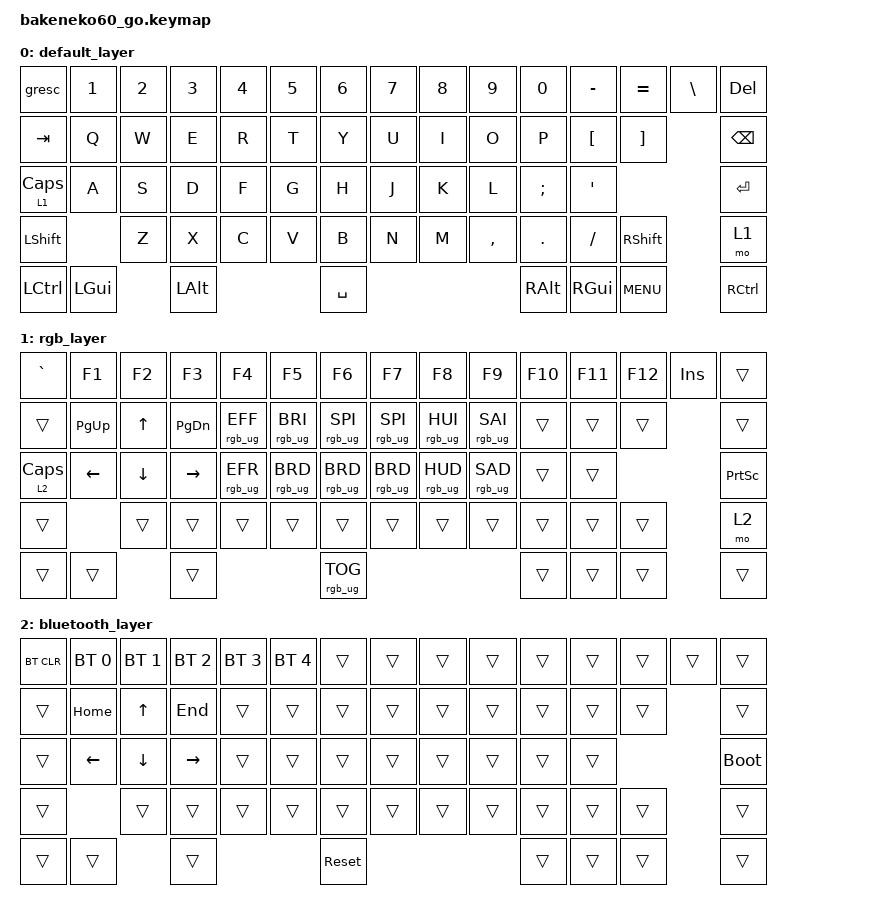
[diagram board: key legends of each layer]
/*
 * Copyright (c) 2023 Andrew Kannan
 *
 * SPDX-License-Identifier: MIT
 */

#include <behaviors.dtsi>
#include <dt-bindings/zmk/bt.h>
#include <dt-bindings/zmk/keys.h>
#include <dt-bindings/zmk/rgb.h>

/ {
    keymap {
        compatible = "zmk,keymap";

        default_layer {
            // ------------------------------------------------------------------------------------------
            // | ESC |  1  |  2  |  3  |  4  |  5  |  6  |  7  |  8  |  9  |  0  |  -  |  =  | BKSP|BKSP|
            // | TAB  |  Q  |  W  |  E  |  R  |  T  |  Y  |  U  |  I  |  O  |  P  |  [  |  ]  |   "|"   |
            // | CAPS  |  A  |  S  |  D  |  F  |  G  |  H  |  J  |  K  |  L  |  ;  |  '  |     ENTER    |
            // |  SHIFT  |  Z  |  X  |  C  |  V  |  B  |  N  |  M  |  ,  |  .  |  /  |  SHIFT  | MO(1)  |
            // |  CTL  |  WIN  |  ALT  |            SPACE              |  ALT  |  WIN  |  MO(1) |  CTL  |
            // ------------------------------------------------------------------------------------------

            bindings = <
&gresc          &kp N1    &kp N2  &kp N3    &kp N4  &kp N5  &kp N6     &kp N7  &kp N8  &kp N9     &kp N0    &kp MINUS  &kp EQUAL   &kp BSLH  &kp DEL
&kp TAB         &kp Q     &kp W   &kp E     &kp R   &kp T   &kp Y      &kp U   &kp I   &kp O      &kp P     &kp LBKT   &kp RBKT              &kp BACKSPACE
&lt 1 CAPSLOCK  &kp A     &kp S   &kp D     &kp F   &kp G   &kp H      &kp J   &kp K   &kp L      &kp SEMI  &kp SQT                          &kp RET
&kp LSHFT                 &kp Z   &kp X     &kp C   &kp V   &kp B      &kp N   &kp M   &kp COMMA  &kp DOT   &kp FSLH   &kp RSHFT             &mo 1
&kp LCTRL       &kp LGUI          &kp LALT                  &kp SPACE                             &kp RALT  &kp RGUI   &kp C_MENU            &kp RCTRL
            >;
        };

        rgb_layer {
            // ------------------------------------------------------------------------------------------------
            // |    `   | F1  | F2  | F3  | F4  | F5  | F6  | F7  | F8  | F9  | F10  | F11 | F12 |     | DEL  |
            // | EFCT REV|   |  UP |   | HUEUP | SATUP | BRIUP | SPDUP |      |  PGUP |    |     |    |       |
            // | EFCT FWD | LT |  DN  | RT | HUEDN | SATDN | BRIDN | SPDDN | HOME | PGDN | END  |  | BOOTLDR  |
            // |             |     |      |      |     |     |     |     |     |     |     |         |        |
            // |         |      |      |             TOG RGB                | PRT SCR |       |       |  MO(2)|
            // ------------------------------------------------------------------------------------------------

            bindings = <
&kp GRAVE       &kp F1          &kp F2          &kp F3           &kp F4           &kp F5           &kp F6           &kp F7           &kp F8           &kp F9           &kp F10  &kp F11  &kp F12  &kp INSERT  &trans
&trans          &kp PAGE_UP     &kp UP_ARROW    &kp PAGE_DOWN    &rgb_ug RGB_EFF  &rgb_ug RGB_BRI  &rgb_ug RGB_SPI  &rgb_ug RGB_SPI  &rgb_ug RGB_HUI  &rgb_ug RGB_SAI  &trans   &trans   &trans               &trans
&lt 2 CAPSLOCK  &kp LEFT_ARROW  &kp DOWN_ARROW  &kp RIGHT_ARROW  &rgb_ug RGB_EFR  &rgb_ug RGB_BRD  &rgb_ug RGB_BRD  &rgb_ug RGB_BRD  &rgb_ug RGB_HUD  &rgb_ug RGB_SAD  &trans   &trans                        &kp PRINTSCREEN
&trans                          &trans          &trans           &trans           &trans           &trans           &trans           &trans           &trans           &trans   &trans   &trans               &mo 2
&trans          &trans                          &trans                                             &rgb_ug RGB_TOG                                                     &trans   &trans   &trans               &trans
            >;
        };

        bluetooth_layer {
            // ------------------------------------------------------------------------------------------------
            // | BT CLR |     |     |     |     |     |     |     |     |     |     |    |    |       |       |
            // |  BT 1   |   |     |   |       |       |       |       |   |     |    |     |     |           |
            // |   BT 2   |    |      |    |       |       |       |       |      |      |      |  |   Reset  |
            // |    BT 3     |     |      |      |     |     |     |     |     |     |     |         |        |
            // |   BT 4  |      |      |                                    |         |       |       |       |
            // ------------------------------------------------------------------------------------------------

            bindings = <
&bt BT_CLR  &bt BT_SEL 0    &bt BT_SEL 1    &bt BT_SEL 2     &bt BT_SEL 3  &bt BT_SEL 4  &trans      &trans  &trans  &trans  &trans  &trans  &trans  &trans  &trans
&trans      &kp HOME        &kp UP_ARROW    &kp END          &trans        &trans        &trans      &trans  &trans  &trans  &trans  &trans  &trans          &trans
&trans      &kp LEFT_ARROW  &kp DOWN_ARROW  &kp RIGHT_ARROW  &trans        &trans        &trans      &trans  &trans  &trans  &trans  &trans                  &bootloader
&trans                      &trans          &trans           &trans        &trans        &trans      &trans  &trans  &trans  &trans  &trans  &trans          &trans
&trans      &trans                          &trans                                       &sys_reset                          &trans  &trans  &trans          &trans
            >;
        };
    };

    combos {
        compatible = "zmk,combos";

        combo_bt {
            timeout-ms = <50>;
            key-positions = <61 62>;
            bindings = <&mo 2>;
        };
    };
};
